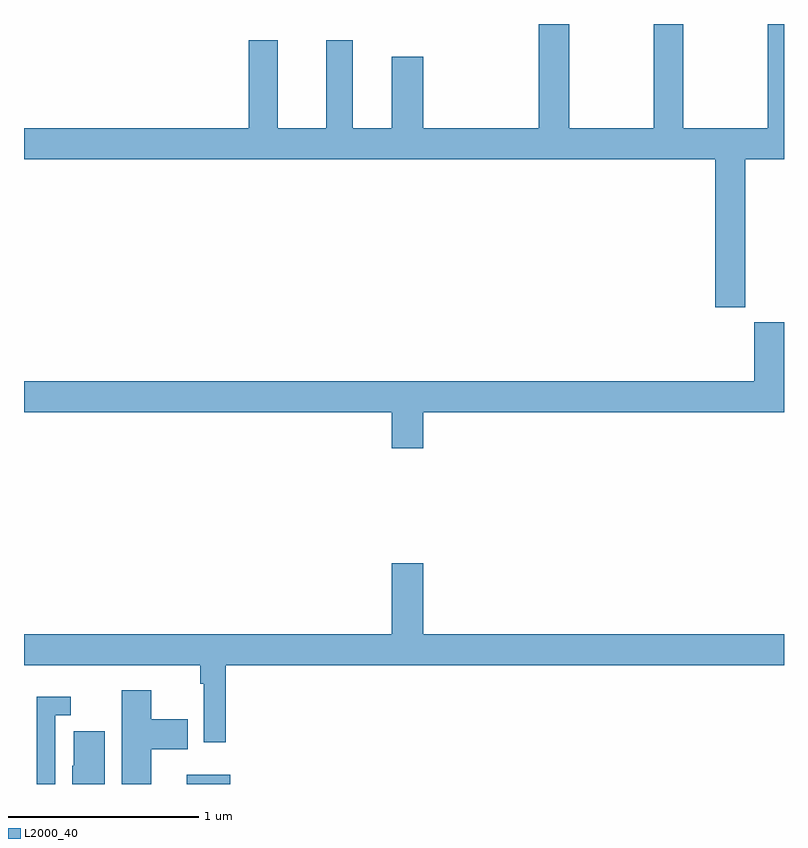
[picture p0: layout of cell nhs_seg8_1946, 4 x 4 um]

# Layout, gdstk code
import gdstk
lib = gdstk.Library(unit=1e-6, precision=1e-09)
def R(c, l, rs):  # rectangles x0, y0, x1, y1
    for r in rs: c.add(gdstk.rectangle(r[:2], r[2:], *l))
def P(c, l, *ps):  # polygons
    for p in ps: c.add(gdstk.Polygon(p, *l))
L2000_40 = (2000, 40)

nhs_seg8_1946 = lib.new_cell('nhs_seg8_1946')
R(nhs_seg8_1946, L2000_40, [(235.856,1091.9,236.086,1091.95)])
P(nhs_seg8_1946, L2000_40, [(238.797,1095.188),(239,1095.188),(239,1095.9),(238.915,1095.9),(238.915,1095.352),(238.47,1095.352),(238.47,1095.9),(238.315,1095.9),(238.315,1095.352),(237.87,1095.352),(237.87,1095.9),(237.71,1095.9),(237.71,1095.352),(237.1,1095.352),(237.1,1095.727),(236.936,1095.727),(236.936,1095.352),(236.731,1095.352),(236.731,1095.814),(236.591,1095.814),(236.591,1095.352),(236.335,1095.352),(236.335,1095.814),(236.183,1095.814),(236.183,1095.352),(235,1095.352),(235,1095.188),(238.637,1095.188),(238.637,1094.409),(238.797,1094.409)],
  [(237.1,1093.856),(239,1093.856),(239,1094.329),(238.844,1094.329),(238.844,1094.02),(235,1094.02),(235,1093.856),(236.936,1093.856),(236.936,1093.668),(237.1,1093.668)],
  [(236.063,1092.524),(239,1092.524),(239,1092.688),(237.1,1092.688),(237.1,1093.063),(236.936,1093.063),(236.936,1092.688),(235,1092.688),(235,1092.524),(235.927,1092.524),(235.927,1092.428),(235.947,1092.428),(235.947,1092.12),(236.063,1092.12)],
  [(235.669,1092.083),(235.862,1092.083),(235.862,1092.241),(235.669,1092.241),(235.669,1092.394),(235.514,1092.394),(235.514,1091.9),(235.669,1091.9)],
  [(235.164,1092.261),(235.246,1092.261),(235.246,1092.358),(235.067,1092.358),(235.067,1091.9),(235.164,1091.9)],
  [(235.426,1092.178),(235.262,1092.178),(235.262,1091.997),(235.253,1091.997),(235.253,1091.9),(235.426,1091.9)])

lib.write_gds('nhs_seg8_1946.gds')
